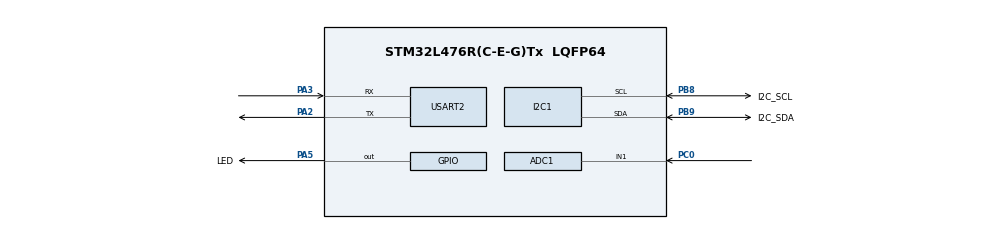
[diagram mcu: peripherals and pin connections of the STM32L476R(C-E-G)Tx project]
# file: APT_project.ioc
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ADC1.Channel-0\#ChannelRegularConversion=ADC_CHANNEL_1
ADC1.NbrOfConversionFlag=1
ADC1.OffsetNumber-0\#ChannelRegularConversion=ADC_OFFSET_NONE
ADC1.Rank-0\#ChannelRegularConversion=1
ADC1.SamplingTime-0\#ChannelRegularConversion=ADC_SAMPLETIME_2CYCLES_5
ADC1.master=1
FREERTOS.Mutexes01=hi2c1_mutex,Dynamic,NULL,Available
FREERTOS.Queues01=sensor_queue,10,4,1,Dynamic,NULL,NULL;display_queue,5,4,1,Dynamic,NULL,NULL
FREERTOS.Tasks01=smoke_task,24,128,StartDefaultTask,Default,NULL,Dynamic,NULL,NULL;temp_task,16,128,StartTask02,Default,NULL,Dynamic,NULL,NULL;process_task,32,128,StartTask03,Default,NULL,Dynamic,NULL,NULL;oled_task,8,128,StartTask04,Default,NULL,Dynamic,NULL,NULL
FREERTOS.configUSE_NEWLIB_REENTRANT=1
I2C1.Timing=0x00100D14
Mcu.Family=STM32L4
Mcu.Name=STM32L476R(C-E-G)Tx
Mcu.Package=LQFP64
NVIC.PriorityGroup=NVIC_PRIORITYGROUP_4
NVIC.TIM6_DAC_IRQn=true\:15\:0\:false\:false\:true\:false\:false\:true\:true
NVIC.TimeBase=TIM6_DAC_IRQn
NVIC.TimeBaseIP=TIM6
PA13\ (JTMS-SWDIO).Mode=Serial_Wire
PA13\ (JTMS-SWDIO).Signal=SYS_JTMS-SWDIO
PA14\ (JTCK-SWCLK).Mode=Serial_Wire
PA14\ (JTCK-SWCLK).Signal=SYS_JTCK-SWCLK
PA2.Mode=Asynchronous
PA2.Signal=USART2_TX
PA3.Mode=Asynchronous
PA3.Signal=USART2_RX
PA5.GPIO_Label=LED
PA5.Signal=GPIO_Output
PB8.GPIO_Label=I2C_SCL
PB8.Mode=I2C
PB8.Signal=I2C1_SCL
PB9.GPIO_Label=I2C_SDA
PB9.Mode=I2C
PB9.Signal=I2C1_SDA
PC0.Signal=ADCx_IN1
ProjectManager.HeapSize=0x200
ProjectManager.StackSize=0x400
ProjectManager.TargetToolchain=STM32CubeIDE
RCC.ADCFreq_Value=32000000
RCC.HSE_VALUE=8000000
RCC.HSI_VALUE=16000000
RCC.LSE_VALUE=32768
RCC.MSI_VALUE=4000000
RCC.PLLSAI1N=16
RCC.USBFreq_Value=32000000
RCC.VCOOutputFreq_Value=32000000
SH.ADCx_IN1.0=ADC1_IN1,IN1-Single-Ended
USART2.VirtualMode-Asynchronous=VM_ASYNC
VP_FREERTOS_VS_CMSIS_V2.Mode=CMSIS_V2
VP_SYS_VS_tim6.Mode=TIM6
board=custom

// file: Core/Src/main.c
/* USER CODE BEGIN Header */
/**
  ******************************************************************************
  * @file           : main.c
  * @brief          : Main program body
  ******************************************************************************
  * @attention
  *
  * Copyright (c) 2026 STMicroelectronics.
  * All rights reserved.
  *
  * This software is licensed under terms that can be found in the LICENSE file
  * in the root directory of this software component.
  * If no LICENSE file comes with this software, it is provided AS-IS.
  *
  ******************************************************************************
  */
/* USER CODE END Header */
#include "main.h"
#include "cmsis_os.h"
#include "adc.h"
#include "i2c.h"
#include "usart.h"
#include "gpio.h"

void SystemClock_Config(void);
void MX_FREERTOS_Init(void);

int main(void)
{

  /* MCU Configuration--------------------------------------------------------*/

  /* Reset of all peripherals, Initializes the Flash interface and the Systick. */
  HAL_Init();

  /* Configure the system clock */
  SystemClock_Config();

  /* Initialize all configured peripherals */
  MX_GPIO_Init();
  MX_USART2_UART_Init();
  MX_I2C1_Init();
  MX_ADC1_Init();

  /* Init scheduler */
  osKernelInitialize();  /* Call init function for freertos objects (in cmsis_os2.c) */
  MX_FREERTOS_Init();

  /* Start scheduler */
  osKernelStart();

  /* We should never get here as control is now taken by the scheduler */

  /* Infinite loop */
  while (1)
  {

  }
}

void SystemClock_Config(void)
{
  RCC_OscInitTypeDef RCC_OscInitStruct = {0};
  RCC_ClkInitTypeDef RCC_ClkInitStruct = {0};

  /** Configure the main internal regulator output voltage
  */
  if (HAL_PWREx_ControlVoltageScaling(PWR_REGULATOR_VOLTAGE_SCALE1) != HAL_OK)
  {
    Error_Handler();
  }

  /** Initializes the RCC Oscillators according to the specified parameters
  * in the RCC_OscInitTypeDef structure.
  */
  RCC_OscInitStruct.OscillatorType = RCC_OSCILLATORTYPE_MSI;
  RCC_OscInitStruct.MSIState = RCC_MSI_ON;
  RCC_OscInitStruct.MSICalibrationValue = 0;
  RCC_OscInitStruct.MSIClockRange = RCC_MSIRANGE_6;
  RCC_OscInitStruct.PLL.PLLState = RCC_PLL_NONE;
  if (HAL_RCC_OscConfig(&RCC_OscInitStruct) != HAL_OK)
  {
    Error_Handler();
  }

  /** Initializes the CPU, AHB and APB buses clocks
  */
  RCC_ClkInitStruct.ClockType = RCC_CLOCKTYPE_HCLK|RCC_CLOCKTYPE_SYSCLK
                              |RCC_CLOCKTYPE_PCLK1|RCC_CLOCKTYPE_PCLK2;
  RCC_ClkInitStruct.SYSCLKSource = RCC_SYSCLKSOURCE_MSI;
  RCC_ClkInitStruct.AHBCLKDivider = RCC_SYSCLK_DIV1;
  RCC_ClkInitStruct.APB1CLKDivider = RCC_HCLK_DIV1;
  RCC_ClkInitStruct.APB2CLKDivider = RCC_HCLK_DIV1;

  if (HAL_RCC_ClockConfig(&RCC_ClkInitStruct, FLASH_LATENCY_0) != HAL_OK)
  {
    Error_Handler();
  }
}

void HAL_TIM_PeriodElapsedCallback(TIM_HandleTypeDef *htim)
{
  if (htim->Instance == TIM6)
  {
    HAL_IncTick();
  }
}

void Error_Handler(void)
{
  __disable_irq();
  while (1)
  {
  }
}

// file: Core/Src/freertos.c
/* USER CODE BEGIN Header */
/**
  ******************************************************************************
  * File Name          : freertos.c
  * Description        : Code for freertos applications
  ******************************************************************************
  * @attention
  *
  * Copyright (c) 2026 STMicroelectronics.
  * All rights reserved.
  *
  * This software is licensed under terms that can be found in the LICENSE file
  * in the root directory of this software component.
  * If no LICENSE file comes with this software, it is provided AS-IS.
  *
  ******************************************************************************
  */
/* USER CODE END Header */

/* USER CODE BEGIN PTD */
#include <mq2.h>
#include "FreeRTOS.h"
#include "task.h"
#include "main.h"
#include "cmsis_os.h"
#include "i2c.h"
#include "BMP.h"
#include "adc.h"
#include "oled.h"
/* USER CODE END PTD */

/* USER CODE BEGIN Includes */
/* USER CODE BEGIN PTD */
typedef struct {
    uint8_t  flags;
    int16_t  value;
} SensorQueueItem_t;

#define SRC_SMOKE_BIT   (0U << 0)
#define SRC_TEMP_BIT    (1U << 0)
#define ALERT_BIT       (1U << 1)

#define IS_TEMP(item)   ((item).flags & SRC_TEMP_BIT)
#define IS_ALERT(item)  ((item).flags & ALERT_BIT)
/* USER CODE END PTD */
/* USER CODE END Includes */

/* USER CODE BEGIN PD */
#define SMOKE_THRESHOLD_RAW   2000
#define TEMP_THRESHOLD_C10    500
/* USER CODE END PD */

/* Definitions for smoke_task */
osThreadId_t smoke_taskHandle;
const osThreadAttr_t smoke_task_attributes = {
  .name = "smoke_task",
  .stack_size = 128 * 4,
  .priority = (osPriority_t) osPriorityNormal,
};
/* Definitions for temp_task */
osThreadId_t temp_taskHandle;
const osThreadAttr_t temp_task_attributes = {
  .name = "temp_task",
  .stack_size = 128 * 4,
  .priority = (osPriority_t) osPriorityBelowNormal,
};
/* Definitions for process_task */
osThreadId_t process_taskHandle;
const osThreadAttr_t process_task_attributes = {
  .name = "process_task",
  .stack_size = 128 * 4,
  .priority = (osPriority_t) osPriorityAboveNormal,
};
/* Definitions for oled_task */
osThreadId_t oled_taskHandle;
const osThreadAttr_t oled_task_attributes = {
  .name = "oled_task",
  .stack_size = 128 * 4,
  .priority = (osPriority_t) osPriorityLow,
};
/* Definitions for sensor_queue */
osMessageQueueId_t sensor_queueHandle;
const osMessageQueueAttr_t sensor_queue_attributes = {
  .name = "sensor_queue"
};
/* Definitions for display_queue */
osMessageQueueId_t display_queueHandle;
const osMessageQueueAttr_t display_queue_attributes = {
  .name = "display_queue"
};
/* Definitions for hi2c1_mutex */
osMutexId_t hi2c1_mutexHandle;
const osMutexAttr_t hi2c1_mutex_attributes = {
  .name = "hi2c1_mutex"
};

void StartDefaultTask(void *argument);
void StartTask02(void *argument);
void StartTask03(void *argument);
void StartTask04(void *argument);

void MX_FREERTOS_Init(void); /* (MISRA C 2004 rule 8.1) */

void MX_FREERTOS_Init(void) {
  /* Create the mutex(es) */
  /* creation of hi2c1_mutex */
  hi2c1_mutexHandle = osMutexNew(&hi2c1_mutex_attributes);

  /* Create the queue(s) */
  /* creation of sensor_queue */
  sensor_queueHandle = osMessageQueueNew (10, 4, &sensor_queue_attributes);

  /* creation of display_queue */
  display_queueHandle = osMessageQueueNew (5, 4, &display_queue_attributes);

  /* Create the thread(s) */
  /* creation of smoke_task */
  smoke_taskHandle = osThreadNew(StartDefaultTask, NULL, &smoke_task_attributes);

  /* creation of temp_task */
  temp_taskHandle = osThreadNew(StartTask02, NULL, &temp_task_attributes);

  /* creation of process_task */
  process_taskHandle = osThreadNew(StartTask03, NULL, &process_task_attributes);

  /* creation of oled_task */
  oled_taskHandle = osThreadNew(StartTask04, NULL, &oled_task_attributes);

}

void StartDefaultTask(void *argument)            // it uses ADC
{
  /* USER CODE BEGIN StartDefaultTask */
	SensorQueueItem_t item;
	uint16_t smoke_raw;

	MQ2_Init(&hadc1);
  /* Infinite loop */
  for(;;)
  {
	  if (MQ2_ReadRaw(&smoke_raw) == MQ2_OK)
	  {
		  item.flags = SRC_SMOKE_BIT;
	      item.value = (int16_t)smoke_raw;
	      osMessageQueuePut(sensor_queueHandle, &item, 0, pdMS_TO_TICKS(50));
	  }

    osDelay(1000);
  }
  /* USER CODE END StartDefaultTask */
}

void StartTask02(void *argument)                   //uses I2C inteface
{
  /* USER CODE BEGIN StartTask02 */
  /* Infinite loop */
//	HAL_StatusTypeDef ready = HAL_I2C_IsDeviceReady(&hi2c1, 0x77 << 1, 3, 100);
	float temp_c;
	SensorQueueItem_t item;

	if (BMP180_Init(&hi2c1) != BMP180_OK)
	{
		Error_Handler();   /* or set an error flag instead, your call */
	}

	for(;;)
	{
		if (osMutexAcquire(hi2c1_mutexHandle, pdMS_TO_TICKS(100)) == osOK)
		{
			if (BMP180_ReadTemperature(&temp_c) == BMP180_OK)
				{
			    	item.flags = SRC_TEMP_BIT;
			        item.value = (int16_t)(temp_c * 10.0f);
			        osMessageQueuePut(sensor_queueHandle, &item, 0, pdMS_TO_TICKS(50));
			     }
			osMutexRelease(hi2c1_mutexHandle);
		}
		osDelay(200);
	}
  /* USER CODE END StartTask02 */
}

void StartTask03(void *argument)
{
  /* USER CODE BEGIN StartTask03 */
	SensorQueueItem_t item;
	  /* Infinite loop */
	for(;;)
	{
		osMessageQueueGet(sensor_queueHandle, &item, NULL, osWaitForever);

		/* Threshold check - set/clear the alert bit based on source */
		if (IS_TEMP(item))
		{
		    if (item.value > TEMP_THRESHOLD_C10)
		    {
		    	item.flags |= ALERT_BIT;
		    }
		    else
		    {
		    	item.flags &= ~ALERT_BIT;
		    }
		}
		else /* smoke */
		{
		    if (item.value > SMOKE_THRESHOLD_RAW)
		    {
		    	item.flags |= ALERT_BIT;
		    }
		    else
		    {
		    	item.flags &= ~ALERT_BIT;
		    }
		}

		osMessageQueuePut(display_queueHandle, &item, 0, osWaitForever);
		osDelay(20);
	  }
	  /* USER CODE END StartTask03 */
}

void StartTask04(void *argument)         // uses I2C interface
{
  /* USER CODE BEGIN StartTask04 */
  SensorQueueItem_t item;

  /* One-time init - must happen before the loop, and needs the I2C bus,
   * so take the mutex briefly here too (temp_task could be mid-transaction). */
  if (osMutexAcquire(hi2c1_mutexHandle, pdMS_TO_TICKS(100)) == osOK)
  {
      OLED_Init(&hi2c1);
      osMutexRelease(hi2c1_mutexHandle);
  }

  for(;;)
  {
      if (osMessageQueueGet(display_queueHandle, &item, 0, osWaitForever) == osOK)
      {
    	  HAL_GPIO_TogglePin(LED_GPIO_Port, LED_Pin);
          if (osMutexAcquire(hi2c1_mutexHandle, pdMS_TO_TICKS(100)) == osOK)
          {
              if (IS_TEMP(item))
              {
                  OLED_ShowTemp(item.value / 10.0f, IS_ALERT(item));
              }
              else
              {
                  OLED_ShowSmoke(item.value, IS_ALERT(item));
              }
              osMutexRelease(hi2c1_mutexHandle);
          }
      }
      osDelay(100);
  }
  /* USER CODE END StartTask04 */
}
